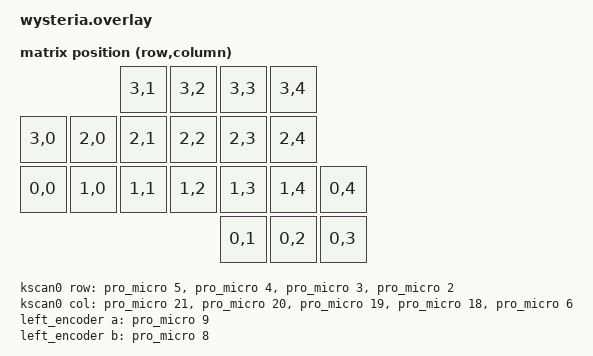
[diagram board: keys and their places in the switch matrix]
#include <dt-bindings/zmk/matrix_transform.h>


&pinctrl {
    spi0_default: spi0_default {
        group1 {
            psels = <NRF_PSEL(SPIM_SCK, 0, 20)>,
                <NRF_PSEL(SPIM_MOSI, 0, 17)>,
                <NRF_PSEL(SPIM_MISO, 0, 25)>;
        };
    };
    spi0_sleep: spi0_sleep {
        group1 {
            psels = <NRF_PSEL(SPIM_SCK, 0, 20)>,
                <NRF_PSEL(SPIM_MOSI, 0, 17)>,
                <NRF_PSEL(SPIM_MISO, 0, 25)>;
            low-power-enable;
        };
    };
};

nice_view_spi: &spi0 {
    compatible = "nordic,nrf-spim";
    pinctrl-0 = <&spi0_default>;
    pinctrl-1 = <&spi0_sleep>;
    pinctrl-names = "default", "sleep";
    cs-gpios = <&pro_micro 10 GPIO_ACTIVE_HIGH>;
};

&pro_micro_i2c {
    status = "disabled";
};

/ {
    chosen {
        zmk,kscan = &kscan0;
        zmk,matrix_transform = &default_transform;
    };

    default_transform: keymap_transform_0 {
            compatible = "zmk,matrix-transform";
            columns = <5>;
            rows = <4>;
            map = <
                              RC(3,1) RC(3,2) RC(3,3) RC(3,4)
              RC(3,0) RC(2,0) RC(2,1) RC(2,2) RC(2,3) RC(2,4)
              RC(0,0) RC(1,0) RC(1,1) RC(1,2) RC(1,3) RC(1,4) RC(0,4)
                                              RC(0,1) RC(0,2) RC(0,3)
            >;
    };

    kscan0: kscan_0 {
        compatible = "zmk,kscan-gpio-matrix";
        label = "KSCAN";
        diode-direction = "col2row";

        col-gpios
            = <&pro_micro 21 GPIO_ACTIVE_HIGH>
            , <&pro_micro 20 GPIO_ACTIVE_HIGH>
            , <&pro_micro 19 GPIO_ACTIVE_HIGH>
            , <&pro_micro 18 GPIO_ACTIVE_HIGH>
            , <&pro_micro 6 GPIO_ACTIVE_HIGH>
            ;

        row-gpios
            = <&pro_micro 5 (GPIO_ACTIVE_HIGH | GPIO_PULL_DOWN)>
            , <&pro_micro 4 (GPIO_ACTIVE_HIGH | GPIO_PULL_DOWN)>
            , <&pro_micro 3 (GPIO_ACTIVE_HIGH | GPIO_PULL_DOWN)>
            , <&pro_micro 2 (GPIO_ACTIVE_HIGH | GPIO_PULL_DOWN)>
            ;
    };

    left_encoder: left_encoder {
        compatible = "alps,ec11";
        label = "LEFT_ENCODER";
        a-gpios = <&pro_micro 9 (GPIO_ACTIVE_LOW | GPIO_PULL_UP)>;
        b-gpios = <&pro_micro 8 (GPIO_ACTIVE_LOW | GPIO_PULL_UP)>;
        resolution = <1>;
        status = "disabled";
    };

    sensors {
        compatible = "zmk,keymap-sensors";
        sensors = <&left_encoder>;
    };
};

&left_encoder {
    status = "okay";
};

